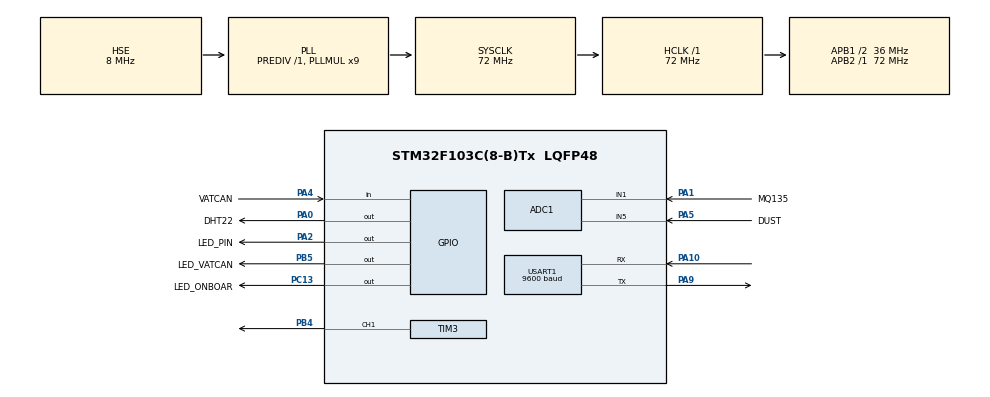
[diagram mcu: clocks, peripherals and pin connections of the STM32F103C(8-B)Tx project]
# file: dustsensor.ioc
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ADC1.Channel-0\#ChannelRegularConversion=ADC_CHANNEL_5
ADC1.Channel-1\#ChannelRegularConversion=ADC_CHANNEL_1
ADC1.ContinuousConvMode=DISABLE
ADC1.NbrOfConversion=2
ADC1.NbrOfConversionFlag=1
ADC1.Rank-0\#ChannelRegularConversion=1
ADC1.Rank-1\#ChannelRegularConversion=2
ADC1.SamplingTime-0\#ChannelRegularConversion=ADC_SAMPLETIME_28CYCLES_5
ADC1.SamplingTime-1\#ChannelRegularConversion=ADC_SAMPLETIME_41CYCLES_5
ADC1.master=1
Dma.ADC1.0.Direction=DMA_PERIPH_TO_MEMORY
Dma.ADC1.0.Instance=DMA1_Channel1
Dma.ADC1.0.MemDataAlignment=DMA_MDATAALIGN_HALFWORD
Dma.ADC1.0.MemInc=DMA_MINC_ENABLE
Dma.ADC1.0.Mode=DMA_CIRCULAR
Dma.ADC1.0.PeriphDataAlignment=DMA_PDATAALIGN_HALFWORD
Dma.ADC1.0.PeriphInc=DMA_PINC_DISABLE
Dma.ADC1.0.Priority=DMA_PRIORITY_LOW
Dma.Request0=ADC1
Mcu.Family=STM32F1
Mcu.Name=STM32F103C(8-B)Tx
Mcu.Package=LQFP48
NVIC.DMA1_Channel1_IRQn=true\:0\:0\:false\:false\:true\:false\:true\:true
NVIC.PriorityGroup=NVIC_PRIORITYGROUP_4
NVIC.USART1_IRQn=true\:0\:0\:false\:false\:true\:true\:true\:true
PA0-WKUP.GPIO_Label=DHT22
PA0-WKUP.Signal=GPIO_Output
PA1.GPIO_Label=MQ135
PA1.Signal=ADCx_IN1
PA10.Mode=Asynchronous
PA10.Signal=USART1_RX
PA13.Mode=Serial_Wire
PA13.Signal=SYS_JTMS-SWDIO
PA14.Mode=Serial_Wire
PA14.Signal=SYS_JTCK-SWCLK
PA2.GPIO_Label=LED_PIN
PA2.Signal=GPIO_Output
PA4.GPIO_Label=VATCAN
PA4.Signal=GPIO_Input
PA5.GPIO_Label=DUST
PA5.Signal=ADCx_IN5
PA9.Mode=Asynchronous
PA9.Signal=USART1_TX
PB4.Signal=S_TIM3_CH1
PB5.GPIO_Label=LED_VATCAN
PB5.Signal=GPIO_Output
PC13-TAMPER-RTC.GPIO_Label=LED_ONBOAR
PC13-TAMPER-RTC.Signal=GPIO_Output
PD0-OSC_IN.Mode=HSE-External-Oscillator
PD0-OSC_IN.Signal=RCC_OSC_IN
PD1-OSC_OUT.Mode=HSE-External-Oscillator
PD1-OSC_OUT.Signal=RCC_OSC_OUT
ProjectManager.HeapSize=0x200
ProjectManager.StackSize=0x400
ProjectManager.TargetToolchain=STM32CubeIDE
RCC.ADCPresc=RCC_ADCPCLK2_DIV6
RCC.AHBFreq_Value=72000000
RCC.APB1CLKDivider=RCC_HCLK_DIV2
RCC.APB1Freq_Value=36000000
RCC.APB1TimFreq_Value=72000000
RCC.APB2Freq_Value=72000000
RCC.APB2TimFreq_Value=72000000
RCC.HCLKFreq_Value=72000000
RCC.PLLMUL=RCC_PLL_MUL9
RCC.PLLSourceVirtual=RCC_PLLSOURCE_HSE
RCC.SYSCLKFreq_VALUE=72000000
RCC.SYSCLKSource=RCC_SYSCLKSOURCE_PLLCLK
RCC.USBFreq_Value=72000000
SH.ADCx_IN1.0=ADC1_IN1,IN1
SH.ADCx_IN5.0=ADC1_IN5,IN5
SH.S_TIM3_CH1.0=TIM3_CH1,PWM Generation1 CH1
TIM1.Period=0xffff-1
TIM1.Prescaler=72-1
TIM2.Period=999
TIM2.Prescaler=72-1
TIM3.Channel-PWM\ Generation1\ CH1=TIM_CHANNEL_1
TIM3.Period=19999
TIM3.Prescaler=72-1
USART1.BaudRate=9600
USART1.VirtualMode=VM_ASYNC
VP_TIM1_VS_ClockSourceINT.Mode=Internal
VP_TIM2_VS_ClockSourceINT.Mode=Internal
VP_TIM3_VS_ClockSourceINT.Mode=Internal
board=custom

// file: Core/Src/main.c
/* USER CODE BEGIN Header */
/**
 ******************************************************************************
 * @file           : main.c
 * @brief          : Main program body
 ******************************************************************************
 * @attention
 *
 * <h2><center>&copy; Copyright (c) 2023 STMicroelectronics.
 * All rights reserved.</center></h2>
 *
 * This software component is licensed by ST under BSD 3-Clause license,
 * the "License"; You may not use this file except in compliance with the
 * License. You may obtain a copy of the License at:
 *                        opensource.org/licenses/BSD-3-Clause
 *
 ******************************************************************************
 */
/* USER CODE END Header */
#include "main.h"

/* USER CODE BEGIN Includes */
#include "stdio.h"
#include "string.h"

/* USER CODE END Includes */

ADC_HandleTypeDef hadc1;
DMA_HandleTypeDef hdma_adc1;

TIM_HandleTypeDef htim1;
TIM_HandleTypeDef htim2;
TIM_HandleTypeDef htim3;

UART_HandleTypeDef huart1;

void SystemClock_Config(void);
static void MX_GPIO_Init(void);
static void MX_DMA_Init(void);
static void MX_ADC1_Init(void);
static void MX_TIM1_Init(void);
static void MX_TIM2_Init(void);
static void MX_TIM3_Init(void);
static void MX_USART1_UART_Init(void);

/* USER CODE BEGIN 0 */
uint8_t vatcan;
uint16_t t1, t2;
uint16_t value_Adc[3];
uint16_t value_Adc_Gp2y10;
#define SharpGP2Y10_SAMPLINGTIME 280
uint16_t dustDensity;
float voltage;
#define        COV_RATIO                       0.2            //ug/mmm / mv
#define        NO_DUST_VOLTAGE                 400            //mv
#define        SYS_VOLTAGE                     3300
void microDelay(uint16_t delay) {
	__HAL_TIM_SET_COUNTER(&htim1, 0);
	while (__HAL_TIM_GET_COUNTER(&htim1) < delay)
		;
}

uint16_t Filter(uint16_t m) {
	static uint16_t flag_first = 0, _buff[10], sum;
	const uint16_t _buff_max = 10;
	int i;

	if (flag_first == 0) {
		flag_first = 1;
		for (i = 0, sum = 0; i < _buff_max; i++) {
			_buff[i] = m;
			sum += _buff[i];
		}
		return m;
	} else {
		sum -= _buff[0];
		for (i = 0; i < (_buff_max - 1); i++) {
			_buff[i] = _buff[i + 1];
		}
		_buff[9] = m;
		sum += _buff[9];

		i = sum / 10.0;
		return i;
	}
}
uint16_t value_Gp2y10(uint16_t value) {
	uint16_t value_Dust;
	value = Filter(value);
	voltage = (3300 / 4096.0) * value * 11;
	value_Dust = 0.17 * voltage - 0.1;
	return value_Dust;
}
#define co2Zero 55
uint32_t co2now;                               //int array for co2 readings
int co2raw = 0;                               //int for raw value of co2
int co2comp = 0;                              //int for compensated co2
int co2ppm = 0;                               //int for calculated ppm
int zzz = 0;                                  //int for averaging
int grafX = 0;
uint16_t count = 0;
uint16_t value_MQ;
long map(long x, long in_min, long in_max, long out_min, long out_max) {
	return (x - in_min) * (out_max - out_min) / (in_max - in_min) + out_min;
}
uint16_t get_PPM(uint16_t value_mq) {

	if (count == 10) {
		count = 0;
		co2raw = co2now / 10.0;
		co2comp = co2raw - co2Zero;
		co2ppm = map(co2comp, 0, 4096, 400, 5000);
		co2now = 0;
	} else {
		co2now += value_mq;
		count++;
	}
	return co2ppm;
}

//------------------ DHT -------------
#define DHT22_PORT GPIOA
#define DHT22_PIN GPIO_PIN_0
uint8_t RH1, RH2, TC1, TC2, SUM, CHECK;
uint32_t pMillis, cMillis;
float tCelsius = 0;
float tFahrenheit = 0;
float RH = 0;

uint8_t DHT22_Start(void) {
	uint8_t Response = 0;
	GPIO_InitTypeDef GPIO_InitStructPrivate = { 0 };
	GPIO_InitStructPrivate.Pin = DHT22_PIN;
	GPIO_InitStructPrivate.Mode = GPIO_MODE_OUTPUT_PP;
	GPIO_InitStructPrivate.Speed = GPIO_SPEED_FREQ_LOW;
	GPIO_InitStructPrivate.Pull = GPIO_NOPULL;
	HAL_GPIO_Init(DHT22_PORT, &GPIO_InitStructPrivate); // set the pin as output
	HAL_GPIO_WritePin(DHT22_PORT, DHT22_PIN, 0);   // pull the pin low
	microDelay(1300);   // wait for 1300us
	HAL_GPIO_WritePin(DHT22_PORT, DHT22_PIN, 1);   // pull the pin high
	microDelay(30);   // wait for 30us
	GPIO_InitStructPrivate.Mode = GPIO_MODE_INPUT;
	GPIO_InitStructPrivate.Pull = GPIO_PULLUP;
	HAL_GPIO_Init(DHT22_PORT, &GPIO_InitStructPrivate); // set the pin as input
	microDelay(40);
	if (!(HAL_GPIO_ReadPin(DHT22_PORT, DHT22_PIN))) {
		microDelay(80);
		if ((HAL_GPIO_ReadPin(DHT22_PORT, DHT22_PIN)))
			Response = 1;
	}
	pMillis = HAL_GetTick();
	cMillis = HAL_GetTick();
	while ((HAL_GPIO_ReadPin(DHT22_PORT, DHT22_PIN)) && pMillis + 2 > cMillis) {
		cMillis = HAL_GetTick();
	}
	return Response;
}
uint8_t DHT22_Read(void) {
	uint8_t a, b;
	for (a = 0; a < 8; a++) {
		pMillis = HAL_GetTick();
		cMillis = HAL_GetTick();
		while (!(HAL_GPIO_ReadPin(DHT22_PORT, DHT22_PIN))
				&& pMillis + 2 > cMillis) {  // wait for the pin to go high
			cMillis = HAL_GetTick();
		}
		microDelay(40);   // wait for 40 us
		if (!(HAL_GPIO_ReadPin(DHT22_PORT, DHT22_PIN)))   // if the pin is low
			b &= ~(1 << (7 - a));
		else
			b |= (1 << (7 - a));
		pMillis = HAL_GetTick();
		cMillis = HAL_GetTick();
		while ((HAL_GPIO_ReadPin(DHT22_PORT, DHT22_PIN))
				&& pMillis + 2 > cMillis) {  // wait for the pin to go low
			cMillis = HAL_GetTick();
		}
	}
	return b;
}
void DHT22_value() {
	if (DHT22_Start()) {
		RH1 = DHT22_Read(); // First 8bits of humidity
		RH2 = DHT22_Read(); // Second 8bits of Relative humidity
		TC1 = DHT22_Read(); // First 8bits of Celsius
		TC2 = DHT22_Read(); // Second 8bits of Celsius
		SUM = DHT22_Read(); // Check sum
		CHECK = RH1 + RH2 + TC1 + TC2;
		if (CHECK == SUM) {
			if (TC1 > 127) // If TC1=10000000, negative temperature
					{
				tCelsius = (float) TC2 / 10 * (-1);
			} else {
				tCelsius = (float) ((TC1 << 8) | TC2) / 10;
			}
			tFahrenheit = tCelsius * 9 / 5 + 32;
			RH = (float) ((RH1 << 8) | RH2) / 10;
		}
	}
}
//------------- END DHT-----------------------
#define BUFFER_SIZE 50
char buffer[BUFFER_SIZE];
uint64_t t_prev;
uint8_t tt = 0;
uint8_t t_s = 0;
uint8_t cb_mua;
uint8_t check;

/* USER CODE END 0 */

int main(void)
{

  /* MCU Configuration--------------------------------------------------------*/

  /* Reset of all peripherals, Initializes the Flash interface and the Systick. */
  HAL_Init();

  /* Configure the system clock */
  SystemClock_Config();

  /* Initialize all configured peripherals */
  MX_GPIO_Init();
  MX_DMA_Init();
  MX_ADC1_Init();
  MX_TIM1_Init();
  MX_TIM2_Init();
  MX_TIM3_Init();
  MX_USART1_UART_Init();
  /* USER CODE BEGIN 2 */
	HAL_TIM_Base_Start(&htim1);
	HAL_TIM_PWM_Start(&htim3, TIM_CHANNEL_1);
	HAL_ADCEx_Calibration_Start(&hadc1);
	t_prev = HAL_GetTick();
  /* USER CODE END 2 */

  /* Infinite loop */
  /* USER CODE BEGIN WHILE */
	while (1) {
		HAL_GPIO_TogglePin(LED_ONBOAR_GPIO_Port, LED_ONBOAR_Pin);

		DHT22_value();

		HAL_GPIO_WritePin(LED_PIN_GPIO_Port, LED_PIN_Pin, GPIO_PIN_SET);
		microDelay(SharpGP2Y10_SAMPLINGTIME);		// delay 0.28ms
		HAL_ADC_Start_DMA(&hadc1, (uint32_t*) value_Adc, 2);
		HAL_GPIO_WritePin(LED_PIN_GPIO_Port, LED_PIN_Pin, GPIO_PIN_RESET);
		dustDensity = value_Gp2y10(value_Adc[1]);
		value_MQ = get_PPM(value_Adc[0]);

		// DHT22

		vatcan = HAL_GPIO_ReadPin(VATCAN_GPIO_Port, VATCAN_Pin);
		if (vatcan == GPIO_PIN_RESET) {
			HAL_GPIO_WritePin(LED_VATCAN_GPIO_Port, LED_VATCAN_Pin,
					GPIO_PIN_SET);
		} else {
			HAL_GPIO_WritePin(LED_VATCAN_GPIO_Port, LED_VATCAN_Pin,
					GPIO_PIN_RESET);
		}

//		if (HAL_GPIO_ReadPin(MUA_GPIO_Port, MUA_Pin) == 0) {	// MODIFY
//			t_s = 1;
//			__HAL_TIM_SET_COMPARE(&htim3, TIM_CHANNEL_1, 800);
//			check = 1;
//		}
//		if (check == 1) {
//			if (HAL_GetTick() - t_prev >= 3000) {
//				t_s = 2;
//				__HAL_TIM_SET_COMPARE(&htim3, TIM_CHANNEL_1, 250);
//				check = 0;
//				t_prev = HAL_GetTick();
//			}
//		}

		sprintf(buffer, "/%d/%d/%.1f/%.1f\n", dustDensity, value_MQ, tCelsius,
				RH);
		HAL_UART_Transmit(&huart1, (uint8_t*) buffer, strlen(buffer), 1000);
		HAL_Delay(100);

    /* USER CODE END WHILE */

	}
}

void SystemClock_Config(void)
{
  RCC_OscInitTypeDef RCC_OscInitStruct = {0};
  RCC_ClkInitTypeDef RCC_ClkInitStruct = {0};
  RCC_PeriphCLKInitTypeDef PeriphClkInit = {0};

  /** Initializes the RCC Oscillators according to the specified parameters
  * in the RCC_OscInitTypeDef structure.
  */
  RCC_OscInitStruct.OscillatorType = RCC_OSCILLATORTYPE_HSE;
  RCC_OscInitStruct.HSEState = RCC_HSE_ON;
  RCC_OscInitStruct.HSEPredivValue = RCC_HSE_PREDIV_DIV1;
  RCC_OscInitStruct.HSIState = RCC_HSI_ON;
  RCC_OscInitStruct.PLL.PLLState = RCC_PLL_ON;
  RCC_OscInitStruct.PLL.PLLSource = RCC_PLLSOURCE_HSE;
  RCC_OscInitStruct.PLL.PLLMUL = RCC_PLL_MUL9;
  if (HAL_RCC_OscConfig(&RCC_OscInitStruct) != HAL_OK)
  {
    Error_Handler();
  }

  /** Initializes the CPU, AHB and APB buses clocks
  */
  RCC_ClkInitStruct.ClockType = RCC_CLOCKTYPE_HCLK|RCC_CLOCKTYPE_SYSCLK
                              |RCC_CLOCKTYPE_PCLK1|RCC_CLOCKTYPE_PCLK2;
  RCC_ClkInitStruct.SYSCLKSource = RCC_SYSCLKSOURCE_PLLCLK;
  RCC_ClkInitStruct.AHBCLKDivider = RCC_SYSCLK_DIV1;
  RCC_ClkInitStruct.APB1CLKDivider = RCC_HCLK_DIV2;
  RCC_ClkInitStruct.APB2CLKDivider = RCC_HCLK_DIV1;

  if (HAL_RCC_ClockConfig(&RCC_ClkInitStruct, FLASH_LATENCY_2) != HAL_OK)
  {
    Error_Handler();
  }
  PeriphClkInit.PeriphClockSelection = RCC_PERIPHCLK_ADC;
  PeriphClkInit.AdcClockSelection = RCC_ADCPCLK2_DIV6;
  if (HAL_RCCEx_PeriphCLKConfig(&PeriphClkInit) != HAL_OK)
  {
    Error_Handler();
  }
}

static void MX_ADC1_Init(void)
{

  ADC_ChannelConfTypeDef sConfig = {0};

  /** Common config
  */
  hadc1.Instance = ADC1;
  hadc1.Init.ScanConvMode = ADC_SCAN_ENABLE;
  hadc1.Init.ContinuousConvMode = DISABLE;
  hadc1.Init.DiscontinuousConvMode = DISABLE;
  hadc1.Init.ExternalTrigConv = ADC_SOFTWARE_START;
  hadc1.Init.DataAlign = ADC_DATAALIGN_RIGHT;
  hadc1.Init.NbrOfConversion = 2;
  if (HAL_ADC_Init(&hadc1) != HAL_OK)
  {
    Error_Handler();
  }

  /** Configure Regular Channel
  */
  sConfig.Channel = ADC_CHANNEL_5;
  sConfig.Rank = ADC_REGULAR_RANK_1;
  sConfig.SamplingTime = ADC_SAMPLETIME_28CYCLES_5;
  if (HAL_ADC_ConfigChannel(&hadc1, &sConfig) != HAL_OK)
  {
    Error_Handler();
  }

  /** Configure Regular Channel
  */
  sConfig.Channel = ADC_CHANNEL_1;
  sConfig.Rank = ADC_REGULAR_RANK_2;
  sConfig.SamplingTime = ADC_SAMPLETIME_41CYCLES_5;
  if (HAL_ADC_ConfigChannel(&hadc1, &sConfig) != HAL_OK)
  {
    Error_Handler();
  }

}

static void MX_TIM1_Init(void)
{

  TIM_ClockConfigTypeDef sClockSourceConfig = {0};
  TIM_MasterConfigTypeDef sMasterConfig = {0};

  htim1.Instance = TIM1;
  htim1.Init.Prescaler = 72-1;
  htim1.Init.CounterMode = TIM_COUNTERMODE_UP;
  htim1.Init.Period = 0xffff-1;
  htim1.Init.ClockDivision = TIM_CLOCKDIVISION_DIV1;
  htim1.Init.RepetitionCounter = 0;
  htim1.Init.AutoReloadPreload = TIM_AUTORELOAD_PRELOAD_DISABLE;
  if (HAL_TIM_Base_Init(&htim1) != HAL_OK)
  {
    Error_Handler();
  }
  sClockSourceConfig.ClockSource = TIM_CLOCKSOURCE_INTERNAL;
  if (HAL_TIM_ConfigClockSource(&htim1, &sClockSourceConfig) != HAL_OK)
  {
    Error_Handler();
  }
  sMasterConfig.MasterOutputTrigger = TIM_TRGO_RESET;
  sMasterConfig.MasterSlaveMode = TIM_MASTERSLAVEMODE_DISABLE;
  if (HAL_TIMEx_MasterConfigSynchronization(&htim1, &sMasterConfig) != HAL_OK)
  {
    Error_Handler();
  }

}

static void MX_TIM2_Init(void)
{

  TIM_ClockConfigTypeDef sClockSourceConfig = {0};
  TIM_MasterConfigTypeDef sMasterConfig = {0};

  htim2.Instance = TIM2;
  htim2.Init.Prescaler = 72-1;
  htim2.Init.CounterMode = TIM_COUNTERMODE_UP;
  htim2.Init.Period = 999;
  htim2.Init.ClockDivision = TIM_CLOCKDIVISION_DIV1;
  htim2.Init.AutoReloadPreload = TIM_AUTORELOAD_PRELOAD_DISABLE;
  if (HAL_TIM_Base_Init(&htim2) != HAL_OK)
  {
    Error_Handler();
  }
  sClockSourceConfig.ClockSource = TIM_CLOCKSOURCE_INTERNAL;
  if (HAL_TIM_ConfigClockSource(&htim2, &sClockSourceConfig) != HAL_OK)
  {
    Error_Handler();
  }
  sMasterConfig.MasterOutputTrigger = TIM_TRGO_RESET;
  sMasterConfig.MasterSlaveMode = TIM_MASTERSLAVEMODE_DISABLE;
  if (HAL_TIMEx_MasterConfigSynchronization(&htim2, &sMasterConfig) != HAL_OK)
  {
    Error_Handler();
  }

}

static void MX_TIM3_Init(void)
{

  TIM_ClockConfigTypeDef sClockSourceConfig = {0};
  TIM_MasterConfigTypeDef sMasterConfig = {0};
  TIM_OC_InitTypeDef sConfigOC = {0};

  htim3.Instance = TIM3;
  htim3.Init.Prescaler = 72-1;
  htim3.Init.CounterMode = TIM_COUNTERMODE_UP;
  htim3.Init.Period = 19999;
  htim3.Init.ClockDivision = TIM_CLOCKDIVISION_DIV1;
  htim3.Init.AutoReloadPreload = TIM_AUTORELOAD_PRELOAD_DISABLE;
  if (HAL_TIM_Base_Init(&htim3) != HAL_OK)
  {
    Error_Handler();
  }
  sClockSourceConfig.ClockSource = TIM_CLOCKSOURCE_INTERNAL;
  if (HAL_TIM_ConfigClockSource(&htim3, &sClockSourceConfig) != HAL_OK)
  {
    Error_Handler();
  }
  if (HAL_TIM_PWM_Init(&htim3) != HAL_OK)
  {
    Error_Handler();
  }
  sMasterConfig.MasterOutputTrigger = TIM_TRGO_RESET;
  sMasterConfig.MasterSlaveMode = TIM_MASTERSLAVEMODE_DISABLE;
  if (HAL_TIMEx_MasterConfigSynchronization(&htim3, &sMasterConfig) != HAL_OK)
  {
    Error_Handler();
  }
  sConfigOC.OCMode = TIM_OCMODE_PWM1;
  sConfigOC.Pulse = 0;
  sConfigOC.OCPolarity = TIM_OCPOLARITY_HIGH;
  sConfigOC.OCFastMode = TIM_OCFAST_DISABLE;
  if (HAL_TIM_PWM_ConfigChannel(&htim3, &sConfigOC, TIM_CHANNEL_1) != HAL_OK)
  {
    Error_Handler();
  }
  HAL_TIM_MspPostInit(&htim3);

}

static void MX_USART1_UART_Init(void)
{

  huart1.Instance = USART1;
  huart1.Init.BaudRate = 9600;
  huart1.Init.WordLength = UART_WORDLENGTH_8B;
  huart1.Init.StopBits = UART_STOPBITS_1;
  huart1.Init.Parity = UART_PARITY_NONE;
  huart1.Init.Mode = UART_MODE_TX_RX;
  huart1.Init.HwFlowCtl = UART_HWCONTROL_NONE;
  huart1.Init.OverSampling = UART_OVERSAMPLING_16;
  if (HAL_UART_Init(&huart1) != HAL_OK)
  {
    Error_Handler();
  }

}

static void MX_DMA_Init(void)
{

  /* DMA controller clock enable */
  __HAL_RCC_DMA1_CLK_ENABLE();

  /* DMA interrupt init */
  /* DMA1_Channel1_IRQn interrupt configuration */
  HAL_NVIC_SetPriority(DMA1_Channel1_IRQn, 0, 0);
  HAL_NVIC_EnableIRQ(DMA1_Channel1_IRQn);

}

static void MX_GPIO_Init(void)
{
  GPIO_InitTypeDef GPIO_InitStruct = {0};

  /* GPIO Ports Clock Enable */
  __HAL_RCC_GPIOC_CLK_ENABLE();
  __HAL_RCC_GPIOD_CLK_ENABLE();
  __HAL_RCC_GPIOA_CLK_ENABLE();
  __HAL_RCC_GPIOB_CLK_ENABLE();

  /*Configure GPIO pin Output Level */
  HAL_GPIO_WritePin(LED_ONBOAR_GPIO_Port, LED_ONBOAR_Pin, GPIO_PIN_RESET);

  /*Configure GPIO pin Output Level */
  HAL_GPIO_WritePin(GPIOA, DHT22_Pin|LED_PIN_Pin, GPIO_PIN_RESET);

  /*Configure GPIO pin Output Level */
  HAL_GPIO_WritePin(LED_VATCAN_GPIO_Port, LED_VATCAN_Pin, GPIO_PIN_RESET);

  /*Configure GPIO pin : LED_ONBOAR_Pin */
  GPIO_InitStruct.Pin = LED_ONBOAR_Pin;
  GPIO_InitStruct.Mode = GPIO_MODE_OUTPUT_PP;
  GPIO_InitStruct.Pull = GPIO_NOPULL;
  GPIO_InitStruct.Speed = GPIO_SPEED_FREQ_LOW;
  HAL_GPIO_Init(LED_ONBOAR_GPIO_Port, &GPIO_InitStruct);

  /*Configure GPIO pins : DHT22_Pin LED_PIN_Pin */
  GPIO_InitStruct.Pin = DHT22_Pin|LED_PIN_Pin;
  GPIO_InitStruct.Mode = GPIO_MODE_OUTPUT_PP;
  GPIO_InitStruct.Pull = GPIO_NOPULL;
  GPIO_InitStruct.Speed = GPIO_SPEED_FREQ_LOW;
  HAL_GPIO_Init(GPIOA, &GPIO_InitStruct);

  /*Configure GPIO pin : VATCAN_Pin */
  GPIO_InitStruct.Pin = VATCAN_Pin;
  GPIO_InitStruct.Mode = GPIO_MODE_INPUT;
  GPIO_InitStruct.Pull = GPIO_NOPULL;
  HAL_GPIO_Init(VATCAN_GPIO_Port, &GPIO_InitStruct);

  /*Configure GPIO pin : LED_VATCAN_Pin */
  GPIO_InitStruct.Pin = LED_VATCAN_Pin;
  GPIO_InitStruct.Mode = GPIO_MODE_OUTPUT_PP;
  GPIO_InitStruct.Pull = GPIO_NOPULL;
  GPIO_InitStruct.Speed = GPIO_SPEED_FREQ_LOW;
  HAL_GPIO_Init(LED_VATCAN_GPIO_Port, &GPIO_InitStruct);

}

void Error_Handler(void)
{
	__disable_irq();
	while (1) {
	}
}
